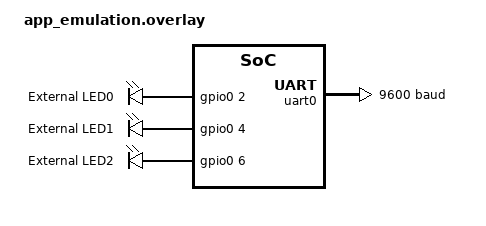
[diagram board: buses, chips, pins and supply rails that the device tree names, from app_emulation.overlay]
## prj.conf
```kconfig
# CONFIG_STM32_BOARD=y
# CONFIG_STM32_PICSIMLAB=n

CONFIG_GPIO=y

# Debug Configuration
CONFIG_DEBUG=y
CONFIG_DEBUG_OPTIMIZATIONS=y
CONFIG_SYMTAB=y

# Console for debug output
CONFIG_CONSOLE=y
CONFIG_UART_CONSOLE=y
CONFIG_SERIAL=y
CONFIG_PRINTK=y

# Optional: Enable debug thread info
CONFIG_DEBUG_THREAD_INFO=y
CONFIG_THREAD_MONITOR=y
CONFIG_THREAD_NAME=y

# Enable time slicing for threads
CONFIG_TIMESLICING=y

# Set the time slice duration (in milliseconds)
CONFIG_TIMESLICE_SIZE=10

# Time slice priority threshold
CONFIG_TIMESLICE_PRIORITY=0
```

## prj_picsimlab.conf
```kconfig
CONFIG_GPIO=y

# Debug Configuration
CONFIG_DEBUG=y
CONFIG_DEBUG_OPTIMIZATIONS=y
CONFIG_SYMTAB=y

# Console for debug output
CONFIG_CONSOLE=y
CONFIG_UART_CONSOLE=y
CONFIG_SERIAL=y
CONFIG_PRINTK=y

# Optional: Enable debug thread info
CONFIG_DEBUG_THREAD_INFO=y
CONFIG_THREAD_MONITOR=y
CONFIG_THREAD_NAME=y

# Enable time slicing for threads
CONFIG_TIMESLICING=y

# Set the time slice duration (in milliseconds)
CONFIG_TIMESLICE_SIZE=10

# Time slice priority threshold
CONFIG_TIMESLICE_PRIORITY=1

# Set maximum number of preempt priorities
CONFIG_NUM_PREEMPT_PRIORITIES=127

# Set cooperative thread priorities
CONFIG_NUM_COOP_PRIORITIES=128
```

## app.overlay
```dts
&usart1 {
    current-speed = <9600>;
};
&red_led_4 {
    gpios = <&gpiog 14 GPIO_ACTIVE_LOW>;
};
/ {
    aliases {
        led1 = &red_led_4;
        led2 = &custom_led1;
    };

    leds {
        compatible = "gpio-leds";        

        custom_led1: custom_led1 {
            label = "External LED1";
            gpios = <&gpioa 4 0>;
        };        
    };

};
```

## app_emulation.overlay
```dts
&uart0 {
    current-speed = <9600>;
};
/ {
    aliases {
        led0 = &custom_led0;
        led1 = &custom_led1;
        led2 = &custom_led2;
    };

    leds {
        compatible = "gpio-leds";        

        custom_led0: custom_led0 {
            label = "External LED0";
            gpios = <&gpio0 2 0>;
        };

        custom_led1: custom_led1 {
            label = "External LED1";
            gpios = <&gpio0 4 0>;
        };        
        custom_led2: custom_led2 {
            label = "External LED2";
            gpios = <&gpio0 6 0>;
        };        
    };
};
```

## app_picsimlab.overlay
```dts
&usart2 {
    current-speed = <9600>;
};
/ {
    aliases {
        led1 = &custom_led1;
        led2 = &custom_led2;
    };

    leds {
        compatible = "gpio-leds";        

        custom_led1: custom_led1 {
            label = "External LED1";
            gpios = <&gpioa 4 0>;
        };        
        custom_led2: custom_led2 {
            label = "External LED2";
            gpios = <&gpioa 6 0>;
        };        
    };
};
```

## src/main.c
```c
/* Pull in zephyr kernel facilities, e.g. k_sleep() */
#include <zephyr/kernel.h>
/* Include Zephyr's device model types and helpers */
#include <zephyr/device.h>
/* Access the C macros for reading information from the devicetree */
#include <zephyr/devicetree.h>
/* Bring in the GPIO driver API and the typed GPIO helpers required */
#include <zephyr/drivers/gpio.h>
#include <zephyr/sys/printk.h>

/* The devicetree node identifier for the "led0" alias. */
#define LED0_NODE DT_ALIAS(led0)
#define LED1_NODE DT_ALIAS(led1)
#define MYLED     DT_ALIAS(led2)


static const struct gpio_dt_spec led_1 = GPIO_DT_SPEC_GET(LED0_NODE, gpios);
static const struct gpio_dt_spec led_2 = GPIO_DT_SPEC_GET(LED1_NODE, gpios);
static const struct gpio_dt_spec myled = GPIO_DT_SPEC_GET(MYLED, gpios);

#define THREAD_1_STACK_SIZE (512U)
#define THREAD_2_STACK_SIZE (512U)

#define THREAD_1_PRIORITY 1
#define THREAD_2_PRIORITY 2

static void thread_1(void * arg1, void *arg2, void *arg3)
{
    ARG_UNUSED(arg1);
    ARG_UNUSED(arg2);
    ARG_UNUSED(arg3);

    while (1) {
        if (gpio_pin_toggle_dt(&led_1) < 0) {
            printk("Error: Could not toggle LED\n");
            return;
        }
        printk("Toggled Green LED\n");
        printk("Green %d\n", gpio_pin_get_dt(&led_1));        
        k_msleep(1000);
    }
}

static void thread_2(void * arg1, void *arg2, void *arg3)
{
    ARG_UNUSED(arg1);
    ARG_UNUSED(arg2);
    ARG_UNUSED(arg3);

    while (1) {
        if (gpio_pin_toggle_dt(&myled) < 0) {
            printk("Error: Could not toggle Off-board LED\n");
            return;
        }

        printk("Toggled Off-board LED\n");
        printk("Off-board LED %d\n", gpio_pin_get_dt(&myled));        
        k_msleep(200);
    }
}

// statically create the threads and auto-start them
K_THREAD_DEFINE(
    thread_1_id, 
    THREAD_1_STACK_SIZE,
    thread_1,
    NULL, NULL, NULL,
    THREAD_1_PRIORITY,
    0,
    0
);

K_THREAD_DEFINE(
    thread_2_id,
    THREAD_2_STACK_SIZE,
    thread_2,
    NULL, NULL, NULL,
    THREAD_2_PRIORITY,
    0,
    0
);

int main(void)
{
    volatile int ret;

    if (!gpio_is_ready_dt(&led_1)) {
        printk("Error: LED device not ready\n");
        return 0;
    }

    if (!gpio_is_ready_dt(&led_2)) {
        printk("Error: LED device not ready\n");
        return 0;
    }    

    if (!gpio_is_ready_dt(&myled)) {
        printk("Error: LED device not ready\n");
        return 0;
    }

    ret = gpio_pin_configure_dt(&led_1, GPIO_OUTPUT_ACTIVE);
    if (ret < 0) {
        printk("Error: Could not configure LED\n");
        return 0;
    }
    ret = gpio_pin_configure_dt(&led_2, GPIO_OUTPUT_ACTIVE);
    if (ret < 0) {
        printk("Error: Could not configure LED\n");
        return 0;
    }    
    ret = gpio_pin_configure_dt(&myled, GPIO_OUTPUT_ACTIVE);
    if (ret < 0) {
        printk("Error: Could not configure LED\n");
        return 0;
    }        

    printk("Starting blinky on %s\n", CONFIG_BOARD);
    printk("Green LED initial status: %d\n", gpio_pin_get_dt(&led_1));
    printk("Red LED initial status: %d\n", gpio_pin_get_dt(&led_2));
    printk("Blue LED initial status: %d\n", gpio_pin_get_dt(&myled));
   

    printk("Main thread going to sleep\n");
    while (1) {
        k_sleep(K_FOREVER);
/*         if (gpio_pin_toggle_dt(&led_1) < 0) {
            printk("Error: Could not toggle LED\n");
            return 0;
        }
        printk("Toggled Green LED\n");
        printk("Green %d\n", gpio_pin_get_dt(&led_1));        
        k_msleep(1000);
        if (gpio_pin_toggle_dt(&led_2) < 0) {
            printk("Error: Could not toggle LED\n");
            return 0;
        }
        printk("Toggled Red LED\n");
        printk("Red %d\n", gpio_pin_get_dt(&led_2));
        k_msleep(1000);        

        if (gpio_pin_toggle_dt(&myled) < 0) {
            printk("Error: Could not toggle LED\n");
            return 0;
        }
        printk("Toggled Blue LED\n");
        printk("Blue %d\n", gpio_pin_get_dt(&myled));
        k_msleep(1000);                 */
    }
    return 0;
}
```
